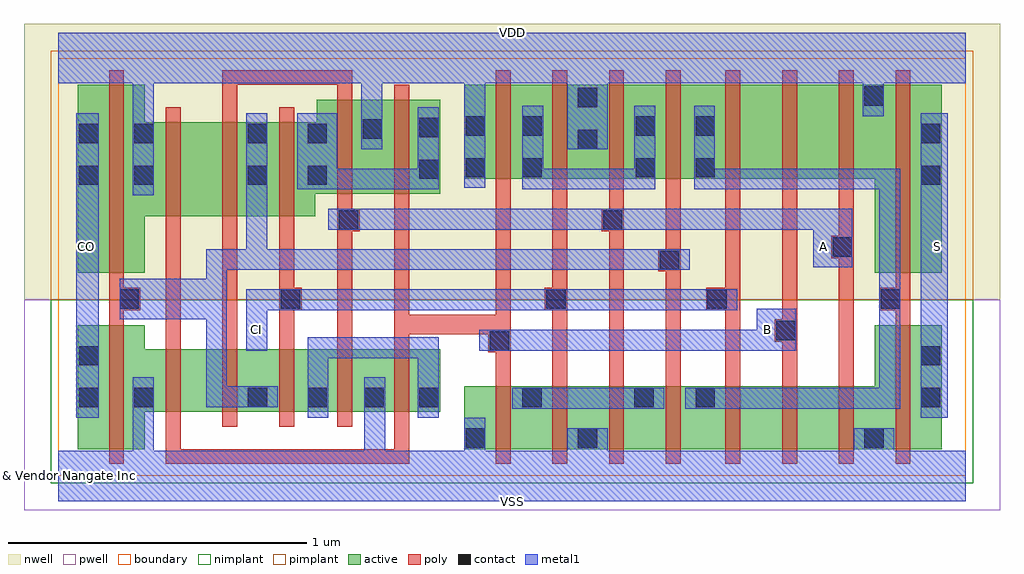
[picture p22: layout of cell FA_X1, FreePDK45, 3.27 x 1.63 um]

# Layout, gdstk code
import gdstk
lib = gdstk.Library(unit=1e-6, precision=1e-10)
def R(c, l, rs):  # rectangles x0, y0, x1, y1
    for r in rs: c.add(gdstk.rectangle(r[:2], r[2:], *l))
def P(c, l, *ps):  # polygons
    for p in ps: c.add(gdstk.Polygon(p, *l))
active = (1, 0)
pwell = (2, 0)
nwell = (3, 0)
nimplant = (4, 0)
pimplant = (5, 0)
poly = (9, 0)
contact = (10, 0)
metal1 = (11, 0)
boundary = (235, 0)

fa_x1 = lib.new_cell('FA_X1')
P(fa_x1, active, [(0.065,0.09),(0.065,0.505),(0.29,0.505),(0.29,0.425),(1.28,0.425),(1.28,0.215),(0.29,0.215),(0.29,0.09)],
  [(0.065,0.68),(0.065,1.31),(0.29,1.31),(0.29,1.185),(0.865,1.185),(0.865,1.26),(1.28,1.26),(1.28,0.945),(0.86,0.945),(0.86,0.87),(0.29,0.87),(0.29,0.68)],
  [(1.36,0.09),(1.36,0.3),(2.735,0.3),(2.735,0.505),(2.96,0.505),(2.96,0.09)],
  [(2.735,0.68),(2.735,0.995),(1.36,0.995),(1.36,1.31),(2.96,1.31),(2.96,0.68)])
R(fa_x1, pwell, [(-0.115,-0.115,3.155,0.59)])
R(fa_x1, nwell, [(-0.115,0.59,3.155,1.515)])
R(fa_x1, nimplant, [(-0.025,-0.025,3.065,0.59)])
R(fa_x1, pimplant, [(-0.025,0.59,3.065,1.425)])
P(fa_x1, poly, [(0.17,0.04),(0.17,1.36),(0.22,1.36),(0.22,0.63),(0.275,0.63),(0.275,0.555),(0.22,0.555),(0.22,0.04)],
  [(0.74,0.165),(0.74,1.235),(0.79,1.235),(0.79,0.63),(0.815,0.63),(0.815,0.555),(0.79,0.555),(0.79,0.165)],
  [(0.55,0.165),(0.55,1.36),(0.985,1.36),(0.985,0.895),(1.01,0.895),(1.01,0.82),(0.985,0.82),(0.985,0.165),(0.935,0.165),(0.935,1.31),(0.6,1.31),(0.6,0.165)],
  [(0.36,0.04),(0.36,1.235),(0.41,1.235),(0.41,0.09),(1.125,0.09),(1.125,1.31),(1.175,1.31),(1.175,0.54),(1.465,0.54),(1.465,1.36),(1.515,1.36),(1.515,0.04),(1.465,0.04),(1.465,0.415),(1.44,0.415),(1.44,0.475),(1.175,0.475),(1.175,0.04)],
  [(1.655,0.04),(1.655,0.555),(1.63,0.555),(1.63,0.63),(1.655,0.63),(1.655,1.36),(1.705,1.36),(1.705,0.04)],
  [(1.845,0.04),(1.845,0.82),(1.82,0.82),(1.82,0.895),(1.845,0.895),(1.845,1.36),(1.895,1.36),(1.895,0.04)],
  [(2.035,0.04),(2.035,0.685),(2.01,0.685),(2.01,0.76),(2.035,0.76),(2.035,1.36),(2.085,1.36),(2.085,0.04)],
  [(2.235,0.04),(2.235,0.555),(2.17,0.555),(2.17,0.63),(2.235,0.63),(2.235,1.36),(2.285,1.36),(2.285,0.04)],
  [(2.425,0.04),(2.425,0.45),(2.4,0.45),(2.4,0.525),(2.425,0.525),(2.425,1.36),(2.475,1.36),(2.475,0.04)],
  [(2.615,0.04),(2.615,0.73),(2.59,0.73),(2.59,0.805),(2.615,0.805),(2.615,1.36),(2.665,1.36),(2.665,0.04)],
  [(2.805,0.04),(2.805,0.555),(2.75,0.555),(2.75,0.63),(2.805,0.63),(2.805,1.36),(2.855,1.36),(2.855,0.04)])
R(fa_x1, contact, [(1.365,0.095,1.43,0.16), (1.74,0.095,1.805,0.16), (2.7,0.095,2.765,0.16), (0.07,0.23,0.135,0.295), (0.255,0.23,0.32,0.295), (0.635,0.23,0.7,0.295), (0.835,0.23,0.9,0.295), (1.025,0.23,1.09,0.295), (1.21,0.23,1.275,0.295), (1.555,0.23,1.62,0.295), (1.93,0.23,1.995,0.295), (2.135,0.23,2.2,0.295), (2.89,0.23,2.955,0.295), (0.07,0.37,0.135,0.435), (2.89,0.37,2.955,0.435), (1.445,0.42,1.51,0.485), (2.405,0.455,2.47,0.52), (0.205,0.56,0.27,0.625), (0.745,0.56,0.81,0.625), (1.635,0.56,1.7,0.625), (2.175,0.56,2.24,0.625), (2.755,0.56,2.82,0.625), (2.015,0.69,2.08,0.755), (2.595,0.735,2.66,0.8), (0.94,0.825,1.005,0.89), (1.825,0.825,1.89,0.89), (0.07,0.975,0.135,1.04), (0.255,0.975,0.32,1.04), (0.635,0.975,0.7,1.04), (0.835,0.975,0.9,1.04), (2.89,0.975,2.955,1.04), (1.21,0.995,1.275,1.06), (1.365,1,1.43,1.065), (1.555,1,1.62,1.065), (1.935,1,2,1.065), (2.135,1,2.2,1.065), (1.74,1.095,1.805,1.16), (0.07,1.115,0.135,1.18), (0.255,1.115,0.32,1.18), (0.635,1.115,0.7,1.18), (0.835,1.115,0.9,1.18), (2.89,1.115,2.955,1.18), (1.02,1.13,1.085,1.195), (1.21,1.135,1.275,1.2), (1.365,1.14,1.43,1.205), (1.555,1.14,1.62,1.205), (1.935,1.14,2,1.205), (2.135,1.14,2.2,1.205), (1.74,1.235,1.805,1.3), (2.7,1.24,2.765,1.305)])
R(fa_x1, metal1, [(0.06,0.195,0.135,1.215), (2.89,0.195,2.98,1.215), (1.52,0.225,2.03,0.295)])
P(fa_x1, metal1, [(0.835,0.195),(0.835,0.465),(1.275,0.465),(1.275,0.195),(1.205,0.195),(1.205,0.395),(0.905,0.395),(0.905,0.195)],
  [(0.8,0.96),(0.8,1.215),(0.935,1.215),(0.935,1.03),(1.205,1.03),(1.205,1.235),(1.275,1.235),(1.275,0.96)],
  [(1.555,0.96),(1.555,1.24),(1.625,1.24),(1.625,1.03),(1.93,1.03),(1.93,1.24),(2,1.24),(2,0.96)],
  [(0.495,0.23),(0.495,0.525),(0.205,0.525),(0.205,0.66),(0.495,0.66),(0.495,0.76),(0.63,0.76),(0.63,1.215),(0.7,1.215),(0.7,0.76),(2.115,0.76),(2.115,0.69),(0.565,0.69),(0.565,0.3),(0.735,0.3),(0.735,0.23)],
  [(0.63,0.42),(0.63,0.625),(2.275,0.625),(2.275,0.555),(0.7,0.555),(0.7,0.42)],
  [(1.41,0.42),(1.41,0.49),(2.34,0.49),(2.34,0.56),(2.47,0.56),(2.47,0.42)],
  [(2.53,0.7),(2.53,0.825),(0.905,0.825),(0.905,0.895),(2.66,0.895),(2.66,0.7)],
  [(2.1,0.225),(2.1,0.295),(2.75,0.295),(2.75,0.96),(2.13,0.96),(2.13,1.24),(2.2,1.24),(2.2,1.03),(2.82,1.03),(2.82,0.225)],
  [(0,-0.085),(0,0.085),(0.25,0.085),(0.25,0.33),(0.32,0.33),(0.32,0.085),(1.025,0.085),(1.025,0.33),(1.095,0.33),(1.095,0.085),(1.36,0.085),(1.36,0.195),(1.43,0.195),(1.43,0.085),(1.705,0.085),(1.705,0.16),(1.84,0.16),(1.84,0.085),(2.665,0.085),(2.665,0.16),(2.8,0.16),(2.8,0.085),(3.04,0.085),(3.04,-0.085)],
  [(0.25,0.94),(0.25,1.315),(0,1.315),(0,1.485),(3.04,1.485),(3.04,1.315),(2.765,1.315),(2.765,1.205),(2.695,1.205),(2.695,1.315),(1.84,1.315),(1.84,1.095),(1.705,1.095),(1.705,1.315),(1.43,1.315),(1.43,0.965),(1.36,0.965),(1.36,1.315),(1.085,1.315),(1.085,1.095),(1.015,1.095),(1.015,1.315),(0.32,1.315),(0.32,0.94)])
R(fa_x1, boundary, [(0,0,3.04,1.4)])
fa_x1.add(gdstk.Label('A', (2.565,0.77), layer=11, texttype=0))
fa_x1.add(gdstk.Label('B', (2.375,0.49), layer=11, texttype=0))
fa_x1.add(gdstk.Label('CI', (0.665,0.49), layer=11, texttype=0))
fa_x1.add(gdstk.Label('CO', (0.095,0.77), layer=11, texttype=0))
fa_x1.add(gdstk.Label('S', (2.945,0.77), layer=11, texttype=0))
fa_x1.add(gdstk.Label('VDD', (1.52,1.485), layer=11, texttype=0))
fa_x1.add(gdstk.Label('VSS', (1.52,-0.085), layer=11, texttype=0))
fa_x1.add(gdstk.Label('& Vendor Nangate Inc', (0,0), layer=63, texttype=63))
fa_x1.add(gdstk.Label('& Product Open Cell Library', (0,0), layer=63, texttype=63))
fa_x1.add(gdstk.Label('& Version 2010_12', (0,0), layer=63, texttype=63))
fa_x1.add(gdstk.Label('& Instance FA_X1', (0,0), layer=63, texttype=63))

lib.write_gds('FA_X1.gds')
